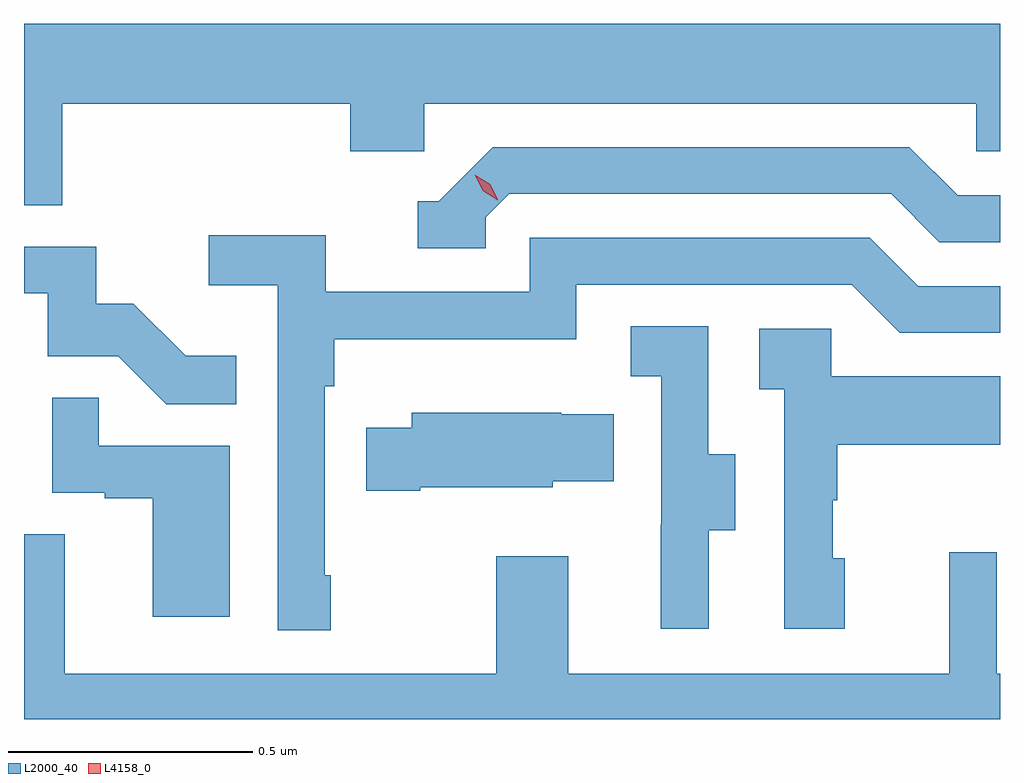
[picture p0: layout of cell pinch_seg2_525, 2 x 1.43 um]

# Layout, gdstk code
import gdstk
lib = gdstk.Library(unit=1e-6, precision=1e-09)
def P(c, l, *ps):  # polygons
    for p in ps: c.add(gdstk.Polygon(p, *l))
L2000_40 = (2000, 40)
L4158_0 = (4158, 0)

pinch_seg2_525 = lib.new_cell('pinch_seg2_525')
P(pinch_seg2_525, L2000_40, [(1000.322,594.356),(1000.913,594.356),(1000.913,594.258),(1001.064,594.258),(1001.064,594.356),(1002.195,594.356),(1002.195,594.258),(1002.244,594.258),(1002.244,594.52),(1000.244,594.52),(1000.244,594.148),(1000.322,594.148)],
  [(1001.19,594.123),(1001.238,594.171),(1002.021,594.171),(1002.12,594.072),(1002.244,594.072),(1002.244,594.168),(1002.157,594.168),(1002.058,594.267),(1001.205,594.267),(1001.094,594.156),(1001.051,594.156),(1001.051,594.06),(1001.19,594.06)],
  [(1000.873,593.389),(1000.86,593.389),(1000.86,593.777),(1000.88,593.777),(1000.88,593.873),(1001.376,593.873),(1001.376,593.985),(1001.94,593.985),(1002.039,593.886),(1002.244,593.886),(1002.244,593.982),(1002.076,593.982),(1001.977,594.081),(1001.28,594.081),(1001.28,593.97),(1000.862,593.97),(1000.862,594.086),(1000.623,594.086),(1000.623,593.984),(1000.764,593.984),(1000.764,593.277),(1000.873,593.277)],
  [(1000.679,593.839),(1000.575,593.839),(1000.468,593.946),(1000.392,593.946),(1000.392,594.063),(1000.244,594.063),(1000.244,593.967),(1000.293,593.967),(1000.293,593.838),(1000.437,593.838),(1000.535,593.74),(1000.679,593.74)],
  [(1001.647,593.482),(1001.701,593.482),(1001.701,593.637),(1001.646,593.637),(1001.646,593.9),(1001.487,593.9),(1001.487,593.797),(1001.55,593.797),(1001.55,593.493),(1001.549,593.493),(1001.549,593.28),(1001.647,593.28)],
  [(1001.926,593.424),(1001.901,593.424),(1001.901,593.543),(1001.911,593.543),(1001.911,593.657),(1002.244,593.657),(1002.244,593.797),(1001.898,593.797),(1001.898,593.895),(1001.751,593.895),(1001.751,593.771),(1001.802,593.771),(1001.802,593.28),(1001.926,593.28)],
  [(1000.666,593.655),(1000.397,593.655),(1000.397,593.753),(1000.302,593.753),(1000.302,593.559),(1000.409,593.559),(1000.409,593.547),(1000.508,593.547),(1000.508,593.304),(1000.666,593.304)],
  [(1001.056,593.57),(1001.328,593.57),(1001.328,593.582),(1001.453,593.582),(1001.453,593.719),(1001.345,593.719),(1001.345,593.722),(1001.039,593.722),(1001.039,593.692),(1000.945,593.692),(1000.945,593.563),(1001.056,593.563)],
  [(1002.244,593.188),(1002.237,593.188),(1002.237,593.437),(1002.14,593.437),(1002.14,593.188),(1001.359,593.188),(1001.359,593.428),(1001.212,593.428),(1001.212,593.188),(1000.327,593.188),(1000.327,593.474),(1000.244,593.474),(1000.244,593.094),(1002.244,593.094)])
P(pinch_seg2_525, L4158_0, [(1001.215,594.158),(1001.184,594.177),(1001.168,594.21),(1001.168,594.21),(1001.168,594.21),(1001.199,594.191),(1001.215,594.159),(1001.215,594.158)])

lib.write_gds('pinch_seg2_525.gds')
